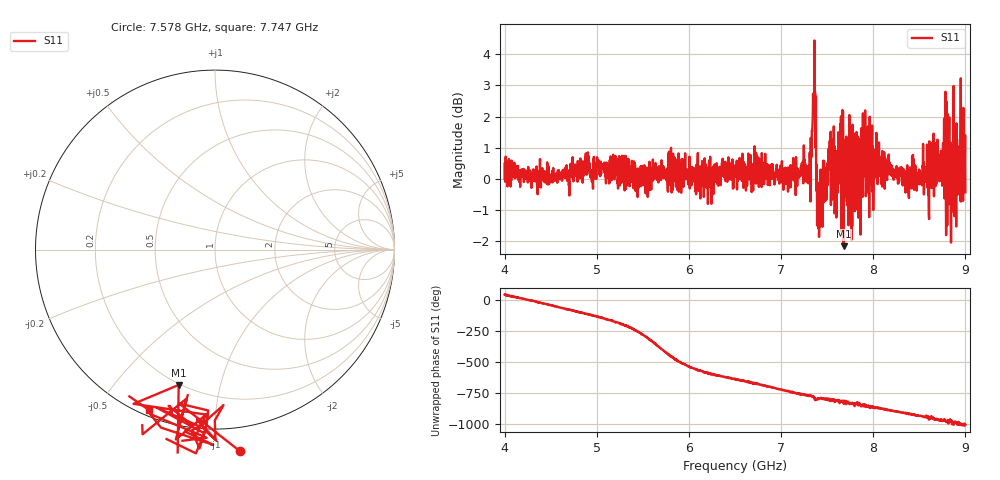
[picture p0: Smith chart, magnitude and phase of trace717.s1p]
! Created with skrf 1.8.0 (http://scikit-rf.org).
# Hz S RI R 50.0
!freq ReS11 ImS11
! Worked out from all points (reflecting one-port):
!   1601 points, 4 GHz to 9 GHz, reference 50 ohm
!   lowest |S11| = -2.1 dB at 7.678 GHz (marker M1), VSWR 8.12, Z = 9.69 - j37.4 ohm
!   phase of S11 starts at 45 deg and turns -1052 deg over the sweep
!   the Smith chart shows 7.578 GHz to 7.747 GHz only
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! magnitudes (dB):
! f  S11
! 4 GHz  0.0
! 4.625 GHz  -0.1
! 4.894 GHz  0.2
! 5.25 GHz  -0.2
! 5.875 GHz  -0.4
! 6.5 GHz  0.4
! 7.125 GHz  0.2
! 7.294 GHz  0.1
! 7.353 GHz  2.2
! 7.375 GHz  1.0
! 7.4 GHz  -0.1
! 7.416 GHz  -1.1
! 7.512 GHz  1.0
! 7.606 GHz  0.3
! 7.647 GHz  0.9
! 7.678 GHz  -2.1
! 7.75 GHz  0.4
! 7.928 GHz  -0.2
! 7.981 GHz  0.1
! 8.038 GHz  0.1
! 8.375 GHz  0.0
! 8.559 GHz  0.4
! 8.581 GHz  -0.1
! 8.634 GHz  -0.3
! 8.809 GHz  2.1
! 8.841 GHz  1.2
! 8.953 GHz  -0.7
! 9 GHz  -0.4
